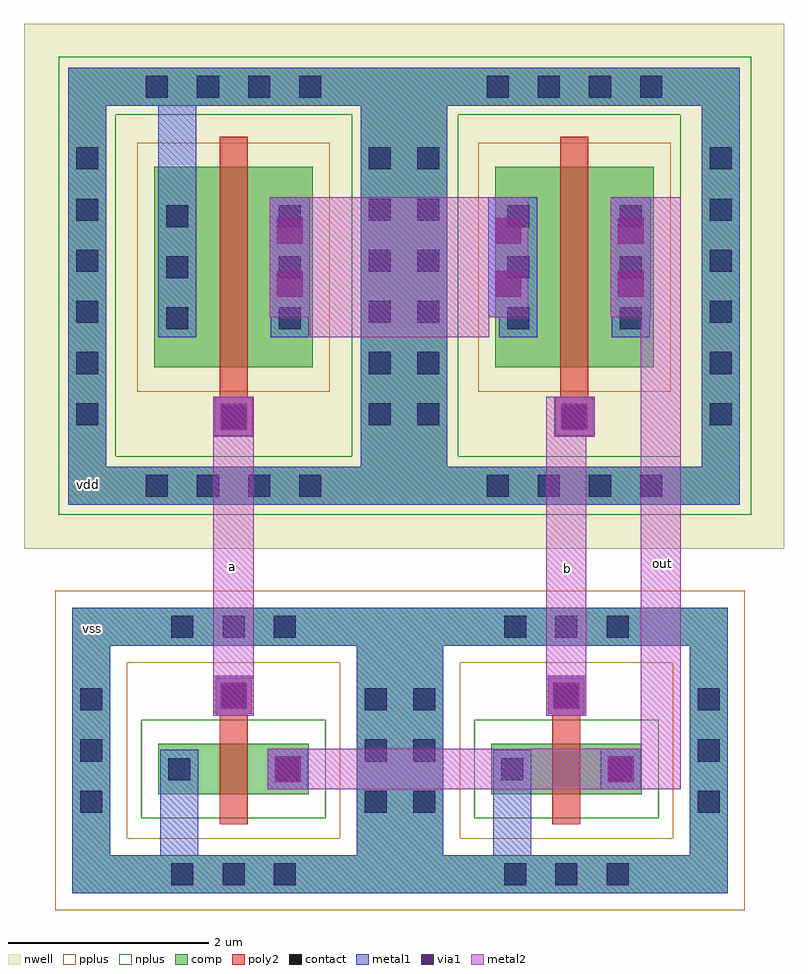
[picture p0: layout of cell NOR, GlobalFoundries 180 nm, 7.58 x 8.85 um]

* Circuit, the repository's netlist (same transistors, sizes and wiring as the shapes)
** sch_path: /foss/designs/NOR.sch
.subckt NOR vdd a b out vss
*.PININFO vdd:B vss:B a:B b:B out:B
M1 out a vss vss nfet_03v3 L=0.28u W=0.5u nf=1 m=1
M2 net1 a vdd vdd pfet_03v3 L=0.28u W=2u nf=1 m=1
M3 out b net1 vdd pfet_03v3 L=0.28u W=2u nf=1 m=1
M4 out b vss vss nfet_03v3 L=0.28u W=0.5u nf=1 m=1
.ends

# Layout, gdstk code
import gdstk
lib = gdstk.Library(unit=1e-6, precision=5e-09)
def R(c, l, rs):  # rectangles x0, y0, x1, y1
    for r in rs: c.add(gdstk.rectangle(r[:2], r[2:], *l))
def A(c, l, x, y, w, h, nx, ny, dx, dy):  # array of equal rectangles
    R(c, l, [(x+i*dx, y+j*dy, x+i*dx+w, y+j*dy+h) for i in range(nx) for j in range(ny)])
def P(c, l, *ps):  # polygons
    for p in ps: c.add(gdstk.Polygon(p, *l))
nwell = (21, 0)
comp = (22, 0)
poly2 = (30, 0)
pplus = (31, 0)
nplus = (32, 0)
contact = (33, 0)
metal1 = (34, 0)
via1 = (35, 0)
metal2 = (36, 0)

pfet = lib.new_cell('pfet')
R(pfet, nwell, [(-1.76,-1.81,2.42,3.43)])
R(pfet, comp, [(-0.46,0,0,2), (0,0,0.66,2), (0.66,0,1.12,2)])
P(pfet, comp, [(-1.32,-1.37),(-1.32,2.61),(-0.94,2.61),(-0.94,-0.99),(1.6,-0.99),(1.6,2.61),(-1.32,2.61),(-1.32,2.99),(1.98,2.99),(1.98,-1.37)])
R(pfet, poly2, [(0.14,-0.68,0.52,-0.3), (0.19,-0.3,0.47,2.3)])
R(pfet, pplus, [(-0.63,-0.24,1.29,2.24)])
A(pfet, contact, -0.545, -1.29, 0.22, 0.22, 4, 2, 0.51, 3.98)
A(pfet, contact, -1.24, -0.575, 0.22, 0.22, 1, 6, 0, 0.51)
A(pfet, contact, 1.68, -0.575, 0.22, 0.22, 1, 6, 0, 0.51)
A(pfet, contact, -0.34, 0.38, 0.22, 0.22, 1, 3, 0, 0.51)
A(pfet, contact, 0.78, 0.38, 0.22, 0.22, 1, 3, 0, 0.51)
R(pfet, contact, [(0.22,-0.6,0.44,-0.38)])
R(pfet, metal1, [(0.14,-0.68,0.52,-0.3), (-0.42,0.3,-0.04,1.7), (0.7,0.3,1.08,1.7)])

nfet = lib.new_cell('nfet')
R(nfet, comp, [(-0.42,0,0,0.5), (0,0,0.66,0.5), (0.66,0,1.08,0.5)])
P(nfet, comp, [(-1.28,-0.99),(-1.28,1.48),(-0.9,1.48),(-0.9,-0.61),(1.56,-0.61),(1.56,1.48),(-1.28,1.48),(-1.28,1.86),(1.94,1.86),(1.94,-0.99)])
R(nfet, poly2, [(0.19,-0.3,0.47,0.8), (0.15,0.8,0.51,1.16)])
P(nfet, pplus, [(-1.45,-1.16),(-1.45,1.31),(-0.73,1.31),(-0.73,-0.44),(1.39,-0.44),(1.39,1.31),(-1.45,1.31),(-1.45,2.03),(2.11,2.03),(2.11,-1.16)])
R(nfet, nplus, [(-0.59,-0.24,1.25,0.74)])
A(nfet, contact, -0.29, -0.91, 0.22, 0.22, 3, 2, 0.51, 2.47)
A(nfet, contact, -1.2, -0.185, 0.22, 0.22, 1, 3, 0, 0.51)
A(nfet, contact, 1.64, -0.185, 0.22, 0.22, 1, 3, 0, 0.51)
R(nfet, contact, [(-0.32,0.14,-0.1,0.36), (0.76,0.14,0.98,0.36), (0.22,0.87,0.44,1.09)])
R(nfet, metal1, [(-0.4,0.06,-0.02,0.44), (0.68,0.06,1.06,0.44), (0.14,0.79,0.52,1.17)])

via_dev = lib.new_cell('via_dev')
R(via_dev, metal1, [(0,0,0.4,0.4)])
R(via_dev, via1, [(0.07,0.07,0.33,0.33)])
R(via_dev, metal2, [(0,0,0.4,0.4)])

via_dev_1 = lib.new_cell('via_dev$1')
R(via_dev_1, metal1, [(0,0,0.4,1.2)])
R(via_dev_1, via1, [(0.07,0.205,0.33,0.465), (0.07,0.735,0.33,0.995)])
R(via_dev_1, metal2, [(0,0,0.4,1.2)])

nor = lib.new_cell('NOR')
R(nor, comp, [(2.55,0.915,2.65,3.765), (2.59,4.79,2.69,9.15)])
R(nor, nplus, [(-0.805,4.69,-0.235,9.26), (-0.235,4.69,6.105,5.275), (2.12,5.275,3.18,8.68), (5.395,5.275,6.105,9.26), (-0.235,8.68,5.395,9.26)])
R(nor, metal1, [(-0.67,0.915,5.49,1.295), (0.21,0.915,0.59,1.965), (3.53,0.915,3.91,1.965), (5.49,0.915,5.87,3.385), (-0.67,1.295,-0.29,3.385), (2.17,1.295,3.03,3.385), (-0.67,3.385,5.87,3.765), (-0.71,4.79,5.99,5.17), (-0.71,5.17,-0.33,8.77), (2.21,5.17,3.07,8.77), (5.61,5.17,5.99,9.15), (0.19,7.86,0.57,9.15), (-0.71,8.77,5.61,9.15)])
R(nor, metal2, [(1.68,1.955,5,2.355), (5,1.955,5.4,7.86), (0.74,3.075,1.14,5.47), (4.06,3.085,4.46,5.87), (1.7,6.46,3.49,7.86)])
nor.add(gdstk.Reference(pfet, (4.01,6.16)))
nor.add(gdstk.Reference(pfet, (0.61,6.16)))
nor.add(gdstk.Reference(nfet, (3.93,1.905)))
nor.add(gdstk.Reference(nfet, (0.61,1.905)))
nor.add(gdstk.Reference(via_dev, (0.74,5.47)))
nor.add(gdstk.Reference(via_dev, (0.74,2.685)))
nor.add(gdstk.Reference(via_dev, (4.06,2.685)))
nor.add(gdstk.Reference(via_dev, (4.14,5.47)))
nor.add(gdstk.Reference(via_dev_1, (1.3,6.66)))
nor.add(gdstk.Reference(via_dev_1, (3.48,6.66)))
nor.add(gdstk.Reference(via_dev_1, (4.7,6.66)))
nor.add(gdstk.Reference(via_dev, (1.28,1.955)))
nor.add(gdstk.Reference(via_dev, (4.6,1.955)))
nor.add(gdstk.Label('vss', (-0.47,3.56), layer=34, texttype=10))
nor.add(gdstk.Label('vdd', (-0.505,4.99), layer=34, texttype=10))
nor.add(gdstk.Label('a', (0.93,4.18), layer=36, texttype=10))
nor.add(gdstk.Label('b', (4.275,4.16), layer=36, texttype=10))
nor.add(gdstk.Label('out', (5.215,4.21), layer=36, texttype=10))

lib.write_gds('NOR.gds')
